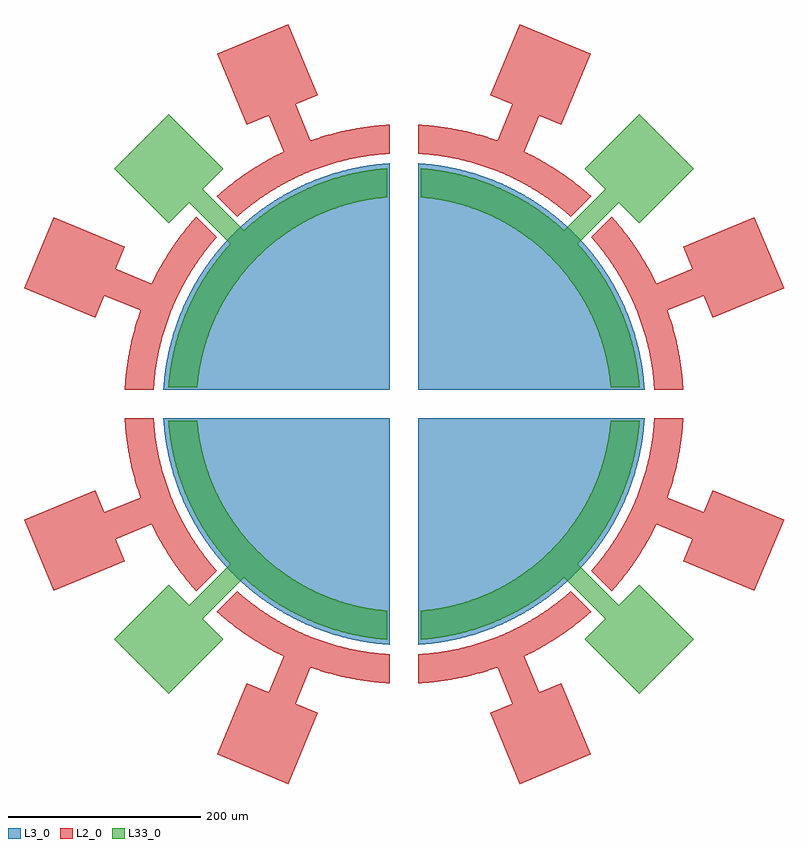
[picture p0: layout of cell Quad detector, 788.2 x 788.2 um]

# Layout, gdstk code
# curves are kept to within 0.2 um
import gdstk
lib = gdstk.Library(unit=1e-6, precision=1e-09)
def P(c, l, *ps):  # polygons
    for p in ps: c.add(gdstk.Polygon(p, *l))
L2_0 = (2, 0)
L3_0 = (3, 0)
L33_0 = (33, 0)

main_cell = lib.new_cell('main_cell')

main_p_cell = lib.new_cell('main_p_cell')

main_p_cell_17 = lib.new_cell('main_p_cell_17')

quad_detector = lib.new_cell('Quad detector')
P(quad_detector, L2_0, [(-171.941,195.029),(-163.2,202.4),(-154.143,209.38),(-144.788,215.955),(-136.545,221.259),(-128.109,226.248),(-118.038,231.662),(-107.738,236.628),(-98.743,240.52),(-89.607,244.071),(-78.789,247.775),(-69.395,250.568),(-58.31,253.377),(-48.719,255.395),(-37.443,257.29),(-26.094,258.687),(-15,259.566),(-15,289.611),(-36.347,287.713),(-56.129,284.516),(-66.813,282.199),(-77.402,279.48),(-96.971,273.306),(-112.427,310.62),(-89.33,320.188),(-119.945,394.098),(-193.855,363.483),(-163.241,289.573),(-140.144,299.14),(-124.687,261.825),(-142.891,252.353),(-152.301,246.788),(-161.494,240.873),(-177.743,229.145),(-194.179,215.392),(-172.934,194.148)],
  [(194.179,215.392),(177.743,229.145),(161.494,240.873),(152.301,246.788),(142.891,252.353),(124.687,261.825),(140.144,299.14),(163.241,289.573),(193.855,363.483),(119.945,394.098),(89.33,320.188),(112.427,310.62),(96.971,273.306),(77.402,279.48),(66.813,282.199),(56.129,284.516),(36.347,287.713),(15,289.611),(15,259.566),(26.094,258.687),(37.443,257.29),(48.719,255.395),(58.31,253.377),(69.395,250.568),(78.789,247.775),(89.607,244.071),(100.252,239.895),(110.703,235.255),(119.491,230.915),(128.109,226.248),(137.933,220.396),(147.49,214.118),(156.762,207.427),(164.468,201.371),(172.934,194.148)],
  [(-259.566,15),(-258.687,26.094),(-257.29,37.443),(-255.395,48.719),(-253.377,58.31),(-250.568,69.395),(-247.775,78.789),(-244.071,89.607),(-239.895,100.252),(-235.255,110.703),(-230.915,119.491),(-226.248,128.109),(-220.396,137.933),(-214.118,147.49),(-207.427,156.762),(-201.371,164.468),(-194.148,172.934),(-215.392,194.179),(-229.145,177.743),(-240.873,161.494),(-246.788,152.301),(-252.353,142.891),(-261.825,124.687),(-299.14,140.144),(-289.573,163.241),(-363.483,193.855),(-394.098,119.945),(-320.188,89.33),(-310.62,112.427),(-273.306,96.971),(-279.48,77.402),(-282.199,66.813),(-284.516,56.129),(-287.713,36.347),(-289.611,15)],
  [(289.536,16.39),(288.713,27.291),(287.479,38.154),(284.158,57.916),(279.48,77.402),(273.306,96.971),(310.62,112.427),(320.188,89.33),(394.098,119.945),(363.483,193.855),(289.573,163.241),(299.14,140.144),(261.825,124.687),(252.353,142.891),(246.788,152.301),(240.873,161.494),(229.145,177.743),(215.392,194.179),(194.148,172.934),(201.371,164.468),(207.427,156.762),(214.118,147.49),(220.396,137.933),(226.248,128.109),(230.915,119.491),(235.255,110.703),(239.895,100.252),(244.071,89.607),(247.775,78.789),(250.568,69.395),(253.377,58.31),(255.395,48.719),(257.29,37.443),(258.687,26.094),(259.566,15),(289.611,15)],
  [(217.532,-191.78),(230.257,-176.3),(241.883,-159.977),(252.353,-142.891),(261.825,-124.687),(299.14,-140.144),(289.573,-163.241),(363.483,-193.855),(394.098,-119.945),(320.188,-89.33),(310.62,-112.427),(273.306,-96.971),(279.48,-77.402),(282.199,-66.813),(284.516,-56.129),(287.713,-36.347),(289.611,-15),(259.566,-15),(258.687,-26.094),(257.29,-37.443),(255.395,-48.719),(253.377,-58.31),(250.568,-69.395),(247.775,-78.789),(244.071,-89.607),(239.895,-100.252),(235.255,-110.703),(230.915,-119.491),(226.248,-128.109),(220.396,-137.933),(214.118,-147.49),(207.427,-156.762),(201.371,-164.468),(194.148,-172.934),(215.392,-194.179)],
  [(-194.148,-172.934),(-201.371,-164.468),(-207.427,-156.762),(-214.118,-147.49),(-220.396,-137.933),(-226.248,-128.109),(-230.915,-119.491),(-235.255,-110.703),(-239.895,-100.252),(-244.071,-89.607),(-247.775,-78.789),(-250.568,-69.395),(-253.377,-58.31),(-255.395,-48.719),(-257.29,-37.443),(-258.687,-26.094),(-259.566,-15),(-289.611,-15),(-287.713,-36.347),(-284.516,-56.129),(-282.199,-66.813),(-279.48,-77.402),(-273.306,-96.971),(-310.62,-112.427),(-320.188,-89.33),(-394.098,-119.945),(-363.483,-193.855),(-289.573,-163.241),(-299.14,-140.144),(-261.825,-124.687),(-252.353,-142.891),(-246.788,-152.301),(-240.873,-161.494),(-229.145,-177.743),(-215.392,-194.179)],
  [(-193.855,-363.483),(-119.945,-394.098),(-89.33,-320.188),(-112.427,-310.62),(-96.971,-273.306),(-77.402,-279.48),(-66.813,-282.199),(-56.129,-284.516),(-36.347,-287.713),(-15,-289.611),(-15,-259.566),(-26.094,-258.687),(-37.443,-257.29),(-48.719,-255.395),(-58.31,-253.377),(-69.395,-250.568),(-78.789,-247.775),(-89.607,-244.071),(-100.252,-239.895),(-110.703,-235.255),(-119.491,-230.915),(-128.109,-226.248),(-137.933,-220.396),(-147.49,-214.118),(-156.762,-207.427),(-164.468,-201.371),(-172.934,-194.148),(-194.179,-215.392),(-177.743,-229.145),(-161.494,-240.873),(-152.301,-246.788),(-142.891,-252.353),(-124.687,-261.825),(-140.144,-299.14),(-163.241,-289.573)],
  [(193.855,-363.483),(163.241,-289.573),(140.144,-299.14),(124.687,-261.825),(142.891,-252.353),(152.301,-246.788),(161.494,-240.873),(177.743,-229.145),(194.179,-215.392),(172.934,-194.148),(164.468,-201.371),(156.762,-207.427),(147.49,-214.118),(137.933,-220.396),(128.109,-226.248),(119.491,-230.915),(110.703,-235.255),(100.252,-239.895),(89.607,-244.071),(78.789,-247.775),(69.395,-250.568),(58.31,-253.377),(48.719,-255.395),(37.443,-257.29),(26.094,-258.687),(15,-259.566),(15,-289.611),(36.347,-287.713),(56.129,-284.516),(66.813,-282.199),(77.402,-279.48),(96.971,-273.306),(112.427,-310.62),(89.33,-320.188),(119.945,-394.098)])
P(quad_detector, L3_0, [(-15,15),(-15,249.548),(-26.653,248.575),(-37.556,247.163),(-48.387,245.273),(-59.125,242.908),(-69.748,240.073),(-80.236,236.775),(-90.569,233.018),(-102.162,228.173),(-112.096,223.46),(-121.813,218.316),(-131.294,212.749),(-141.817,205.883),(-150.732,199.449),(-159.356,192.628),(-168.833,184.378),(-176.777,176.777),(-184.378,168.833),(-192.628,159.356),(-199.449,150.732),(-205.883,141.817),(-212.749,131.294),(-218.316,121.813),(-223.46,112.096),(-228.173,102.162),(-233.018,90.569),(-236.775,80.236),(-240.073,69.748),(-242.908,59.125),(-245.273,48.387),(-247.163,37.556),(-248.575,26.653),(-249.548,15)],
  [(249.507,15.698),(248.575,26.653),(247.163,37.556),(245.273,48.387),(242.532,60.65),(239.63,71.255),(236.266,81.722),(232.444,92.031),(228.173,102.162),(223.46,112.096),(218.316,121.813),(212.749,131.294),(205.883,141.817),(199.449,150.732),(192.628,159.356),(184.378,168.833),(176.777,176.777),(168.833,184.378),(159.356,192.628),(150.732,199.449),(141.817,205.883),(131.294,212.749),(121.813,218.316),(112.096,223.46),(102.162,228.173),(90.569,233.018),(80.236,236.775),(69.748,240.073),(59.125,242.908),(48.387,245.273),(37.556,247.163),(26.653,248.575),(15,249.548),(15,15),(249.548,15)],
  [(17.265,-249.403),(28.214,-248.403),(39.109,-246.922),(49.927,-244.964),(62.172,-242.146),(72.759,-239.178),(83.205,-235.748),(94.945,-231.269),(105.021,-226.871),(116.288,-221.308),(125.906,-215.981),(135.28,-210.236),(144.393,-204.085),(153.227,-197.539),(161.764,-190.611),(169.988,-183.314),(177.884,-175.662),(186.485,-166.503),(193.626,-158.143),(200.392,-149.476),(206.77,-140.521),(212.749,-131.294),(218.316,-121.813),(223.46,-112.096),(228.173,-102.162),(233.018,-90.569),(236.775,-80.236),(240.073,-69.748),(242.908,-59.125),(245.273,-48.387),(247.163,-37.556),(248.575,-26.653),(249.548,-15),(15,-15),(15,-249.548)],
  [(-15,-15),(-249.548,-15),(-248.575,-26.653),(-247.163,-37.556),(-245.273,-48.387),(-242.908,-59.125),(-240.073,-69.748),(-236.775,-80.236),(-233.018,-90.569),(-228.173,-102.162),(-223.46,-112.096),(-218.316,-121.813),(-212.749,-131.294),(-205.883,-141.817),(-199.449,-150.732),(-192.628,-159.356),(-184.378,-168.833),(-176.777,-176.777),(-168.833,-184.378),(-159.356,-192.628),(-150.732,-199.449),(-141.817,-205.883),(-131.294,-212.749),(-121.813,-218.316),(-112.096,-223.46),(-102.162,-228.173),(-90.569,-233.018),(-80.236,-236.775),(-69.748,-240.073),(-59.125,-242.908),(-48.387,-245.273),(-37.556,-247.163),(-26.653,-248.575),(-15,-249.548)])
P(quad_detector, L33_0, [(244.304,18.455),(243.435,27.65),(241.984,38.326),(240.367,47.42),(238.05,57.942),(235.697,66.873),(232.529,77.172),(228.911,87.321),(224.85,97.301),(221.023,105.707),(216.161,115.322),(210.882,124.715),(205.194,133.867),(199.11,142.759),(193.588,150.162),(186.798,158.529),(180.167,166.025),(222.739,208.597),(243.952,187.383),(300.52,243.952),(243.952,300.52),(187.383,243.952),(208.597,222.739),(166.025,180.167),(158.529,186.798),(150.162,193.588),(142.759,199.11),(133.867,205.194),(124.715,210.882),(115.322,216.161),(105.707,221.023),(97.301,224.85),(87.321,228.911),(77.172,232.529),(66.873,235.697),(57.942,238.05),(47.42,240.367),(38.326,241.984),(27.65,243.435),(17.5,244.373),(17.5,214.286),(26.947,213.305),(36.299,211.914),(45.582,210.113),(54.776,207.905),(63.864,205.296),(72.829,202.289),(81.653,198.892),(90.318,195.109),(98.81,190.949),(107.11,186.42),(115.203,181.531),(123.073,176.29),(130.705,170.708),(138.084,164.796),(145.197,158.565),(152.028,152.028),(158.565,145.197),(164.796,138.084),(170.708,130.705),(176.29,123.073),(181.531,115.203),(186.42,107.11),(190.949,98.81),(195.109,90.318),(198.892,81.653),(202.289,72.829),(205.296,63.864),(207.905,54.776),(210.113,45.582),(211.914,36.299),(213.305,26.947),(214.286,17.5),(244.373,17.5)],
  [(-214.286,17.5),(-212.353,33.633),(-208.901,50.847),(-204.056,67.722),(-198.375,82.901),(-190.949,98.81),(-182.964,112.913),(-173.141,127.464),(-162.164,141.166),(-154.866,149.135),(-147.178,156.728),(-140.144,163.048),(-131.775,169.883),(-123.073,176.29),(-115.203,181.531),(-105.936,187.09),(-96.402,192.176),(-86.625,196.777),(-76.629,200.881),(-67.722,204.056),(-57.384,207.201),(-46.901,209.822),(-37.63,211.681),(-26.947,213.305),(-17.5,214.286),(-17.5,244.373),(-27.65,243.435),(-38.326,241.984),(-47.42,240.367),(-57.942,238.05),(-66.873,235.697),(-77.172,232.529),(-87.321,228.911),(-97.301,224.85),(-105.707,221.023),(-115.322,216.161),(-124.715,210.882),(-133.867,205.194),(-142.759,199.11),(-150.162,193.588),(-158.529,186.798),(-166.025,180.167),(-208.597,222.739),(-187.383,243.952),(-243.952,300.52),(-300.52,243.952),(-243.952,187.383),(-222.739,208.597),(-180.167,166.025),(-190.723,153.784),(-200.003,141.505),(-208.494,128.668),(-216.882,113.962),(-224.234,98.712),(-229.99,84.438),(-234.838,69.83),(-238.759,54.946),(-242.22,36.805),(-244.373,17.5)],
  [(243.952,-187.383),(222.739,-208.597),(180.167,-166.025),(190.723,-153.784),(200.003,-141.505),(208.494,-128.668),(216.882,-113.962),(224.234,-98.712),(229.99,-84.438),(234.838,-69.83),(238.759,-54.946),(242.22,-36.805),(244.373,-17.5),(214.286,-17.5),(212.353,-33.633),(208.901,-50.847),(204.056,-67.722),(198.375,-82.901),(190.949,-98.81),(182.964,-112.913),(173.141,-127.464),(162.164,-141.166),(154.866,-149.135),(147.178,-156.728),(140.144,-163.048),(131.775,-169.883),(123.073,-176.29),(115.203,-181.531),(105.936,-187.09),(96.402,-192.176),(86.625,-196.777),(76.629,-200.881),(67.722,-204.056),(57.384,-207.201),(46.901,-209.822),(37.63,-211.681),(26.947,-213.305),(17.5,-214.286),(17.5,-244.373),(27.65,-243.435),(38.326,-241.984),(47.42,-240.367),(57.942,-238.05),(66.873,-235.697),(77.172,-232.529),(87.321,-228.911),(97.301,-224.85),(105.707,-221.023),(115.322,-216.161),(124.715,-210.882),(133.867,-205.194),(142.759,-199.11),(150.162,-193.588),(158.529,-186.798),(166.025,-180.167),(208.597,-222.739),(187.383,-243.952),(243.952,-300.52),(300.52,-243.952)],
  [(-187.383,-243.952),(-208.597,-222.739),(-166.025,-180.167),(-153.784,-190.723),(-141.505,-200.003),(-128.668,-208.494),(-113.962,-216.882),(-98.712,-224.234),(-84.438,-229.99),(-69.83,-234.838),(-54.946,-238.759),(-36.805,-242.22),(-17.5,-244.373),(-17.5,-214.286),(-33.633,-212.353),(-50.847,-208.901),(-67.722,-204.056),(-82.901,-198.375),(-98.81,-190.949),(-112.913,-182.964),(-127.464,-173.141),(-141.166,-162.164),(-149.135,-154.866),(-156.728,-147.178),(-163.048,-140.144),(-169.883,-131.775),(-176.29,-123.073),(-181.531,-115.203),(-187.09,-105.936),(-192.176,-96.402),(-196.777,-86.625),(-200.881,-76.629),(-204.056,-67.722),(-207.201,-57.384),(-209.822,-46.901),(-211.681,-37.63),(-213.305,-26.947),(-214.286,-17.5),(-244.373,-17.5),(-243.435,-27.65),(-241.984,-38.326),(-240.367,-47.42),(-238.05,-57.942),(-235.697,-66.873),(-232.529,-77.172),(-228.911,-87.321),(-224.85,-97.301),(-221.023,-105.707),(-216.161,-115.322),(-210.882,-124.715),(-205.194,-133.867),(-199.11,-142.759),(-193.588,-150.162),(-186.798,-158.529),(-180.167,-166.025),(-222.739,-208.597),(-243.952,-187.383),(-300.52,-243.952),(-243.952,-300.52)])
quad_detector.add(gdstk.Reference(main_cell, (0,0)))
quad_detector.add(gdstk.Reference(main_p_cell, (0,0)))
quad_detector.add(gdstk.Reference(main_p_cell_17, (0,0)))

lib.write_gds('Quad_detector.gds')
